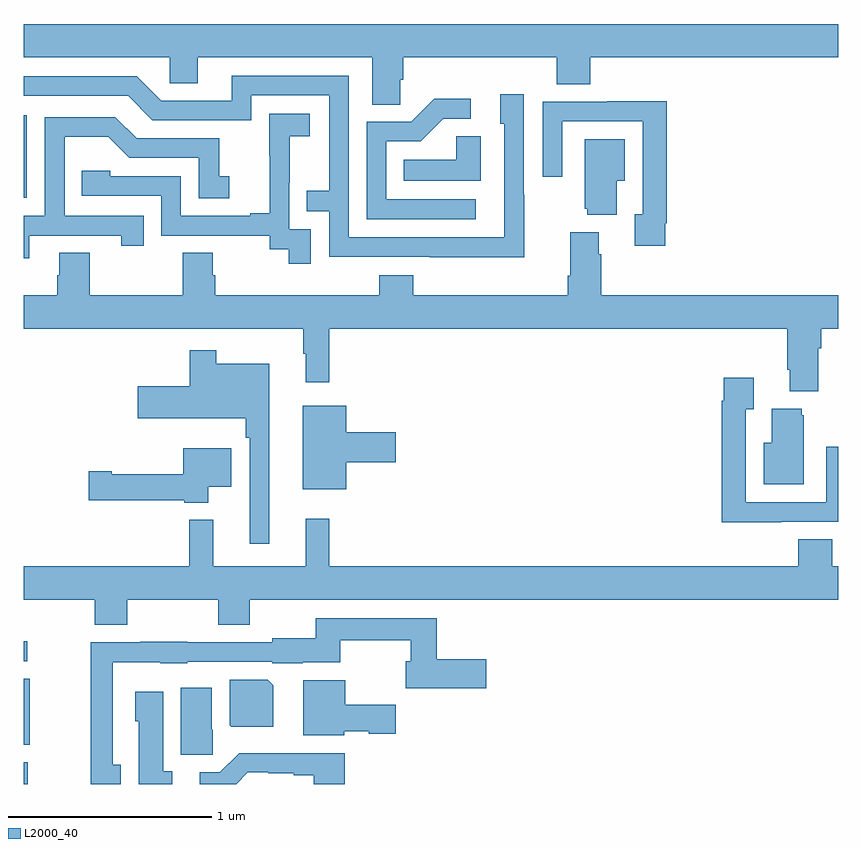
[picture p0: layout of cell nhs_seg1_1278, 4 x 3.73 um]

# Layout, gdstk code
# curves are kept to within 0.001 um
import gdstk
lib = gdstk.Library(unit=1e-6, precision=1e-09)
def R(c, l, rs):  # rectangles x0, y0, x1, y1
    for r in rs: c.add(gdstk.rectangle(r[:2], r[2:], *l))
def P(c, l, *ps):  # polygons
    for p in ps: c.add(gdstk.Polygon(p, *l))
L2000_40 = (2000, 40)

nhs_seg1_1278 = lib.new_cell('nhs_seg1_1278')
R(nhs_seg1_1278, L2000_40, [(181,512.199,181.02,512.307), (181,512.392,181.03,512.717), (181,512.802,181.018,512.9), (181,515.079,181.014,515.485)])
P(nhs_seg1_1278, L2000_40, [(182.85,515.659),(182.864,515.659),(182.864,515.768),(183.617,515.768),(183.617,515.635),(183.782,515.635),(183.782,515.768),(185,515.768),(185,515.932),(181,515.932),(181,515.768),(181.716,515.768),(181.716,515.641),(181.855,515.641),(181.855,515.768),(182.711,515.768),(182.711,515.536),(182.85,515.536)],
  [(183.459,515.093),(183.456,515.093),(183.456,515.587),(183.341,515.587),(183.341,515.442),(183.36,515.442),(183.36,514.884),(182.595,514.884),(182.595,515.679),(182.021,515.679),(182.021,515.556),(181.674,515.556),(181.554,515.676),(181,515.676),(181,515.58),(181.512,515.58),(181.632,515.46),(182.118,515.46),(182.118,515.583),(182.499,515.583),(182.499,515.114),(182.389,515.114),(182.389,515.013),(182.499,515.013),(182.499,514.788),(183.459,514.787)],
  [(183.22,515.07),(182.781,515.07),(182.781,515.355),(182.95,515.355),(183.061,515.466),(183.196,515.466),(183.196,515.564),(183.017,515.564),(182.904,515.451),(182.685,515.451),(182.685,514.974),(183.22,514.974)],
  [(184.15,514.954),(184.157,514.954),(184.157,515.552),(183.865,515.552),(183.865,515.55),(183.549,515.55),(183.549,515.181),(183.645,515.181),(183.645,515.454),(184.041,515.454),(184.041,514.998),(184.001,514.998),(184.001,514.842),(184.15,514.842)],
  [(182.409,514.923),(182.304,514.923),(182.304,515.153),(182.306,515.153),(182.306,515.381),(182.404,515.381),(182.404,515.491),(182.206,515.491),(182.206,515.285),(182.207,515.285),(182.207,515.002),(182.111,515.002),(182.111,514.989),(181.77,514.989),(181.77,515.184),(181.425,515.184),(181.425,515.211),(181.285,515.211),(181.285,515.088),(181.674,515.088),(181.674,514.893),(182.208,514.893),(182.208,514.825),(182.301,514.825),(182.301,514.755),(182.409,514.755)],
  [(181.027,514.893),(181.478,514.893),(181.478,514.842),(181.589,514.842),(181.589,514.989),(181.2,514.989),(181.2,515.378),(181.414,515.378),(181.518,515.274),(181.86,515.274),(181.86,515.076),(182.008,515.076),(182.008,515.185),(181.959,515.185),(181.959,515.37),(181.555,515.37),(181.45,515.475),(181.104,515.475),(181.104,514.989),(181,514.989),(181,514.782),(181.027,514.782)],
  [(183.244,515.381),(183.123,515.381),(183.123,515.266),(182.866,515.266),(182.866,515.162),(183.244,515.162)],
  [(183.913,515.162),(183.952,515.162),(183.952,515.365),(183.755,515.365),(183.755,515.025),(183.767,515.025),(183.767,514.994),(183.913,514.994)],
  [(184.903,514.34),(184.916,514.34),(184.916,514.436),(185,514.436),(185,514.6),(183.836,514.6),(183.836,514.802),(183.823,514.802),(183.823,514.909),(183.683,514.909),(183.683,514.696),(183.671,514.696),(183.671,514.6),(182.912,514.6),(182.912,514.699),(182.747,514.699),(182.747,514.6),(181.94,514.6),(181.94,514.698),(181.927,514.698),(181.927,514.808),(181.78,514.808),(181.78,514.6),(181.323,514.6),(181.323,514.808),(181.175,514.808),(181.175,514.698),(181.163,514.698),(181.163,514.6),(181,514.6),(181,514.436),(182.373,514.436),(182.373,514.313),(182.384,514.313),(182.384,514.173),(182.501,514.173),(182.501,514.436),(184.751,514.436),(184.751,514.234),(184.763,514.234),(184.763,514.127),(184.903,514.127)],
  [(182.206,514.264),(181.945,514.264),(181.945,514.33),(181.816,514.33),(181.816,514.153),(181.56,514.153),(181.56,513.995),(182.089,513.995),(182.089,513.899),(182.109,513.899),(182.109,513.378),(182.206,513.378)],
  [(184.721,513.486),(185,513.486),(185,513.856),(184.941,513.856),(184.941,513.582),(184.545,513.582),(184.545,514.039),(184.585,514.039),(184.585,514.195),(184.437,514.195),(184.437,514.082),(184.429,514.082),(184.429,513.485),(184.721,513.485)],
  [(182.584,513.779),(182.827,513.779),(182.827,513.926),(182.584,513.926),(182.584,514.057),(182.369,514.057),(182.369,513.647),(182.584,513.647)],
  [(184.831,514.011),(184.82,514.011),(184.82,514.042),(184.673,514.042),(184.673,513.874),(184.634,513.874),(184.634,513.671),(184.831,513.671)],
  [(181.906,513.659),(182.02,513.659),(182.02,513.847),(181.784,513.847),(181.784,513.721),(181.432,513.721),(181.432,513.734),(181.32,513.734),(181.32,513.592),(181.788,513.592),(181.788,513.581),(181.906,513.581)],
  [(181.509,513.104),(181.954,513.104),(181.954,512.98),(182.109,512.98),(182.109,513.104),(185,513.104),(185,513.268),(184.97,513.268),(184.97,513.401),(184.805,513.401),(184.805,513.268),(182.501,513.268),(182.501,513.502),(182.384,513.502),(182.384,513.268),(181.931,513.268),(181.931,513.496),(181.813,513.496),(181.813,513.268),(181,513.268),(181,513.104),(181.349,513.104),(181.349,512.98),(181.509,512.98)],
  [(181.477,512.294),(181.437,512.294),(181.437,512.798),(181.671,512.798),(181.671,512.792),(181.803,512.792),(181.803,512.799),(182.22,512.799),(182.22,512.792),(182.37,512.792),(182.37,512.798),(182.554,512.798),(182.554,512.904),(182.901,512.904),(182.901,512.803),(182.875,512.803),(182.875,512.669),(183.271,512.669),(183.271,512.811),(183.029,512.811),(183.029,513.012),(182.433,513.012),(182.433,512.914),(182.22,512.914),(182.22,512.895),(181.803,512.895),(181.803,512.897),(181.571,512.897),(181.571,512.895),(181.329,512.895),(181.329,512.199),(181.477,512.199)],
  [(182.224,512.684),(182.198,512.71),(182.012,512.71),(182.012,512.488),(182.02,512.48),(182.224,512.48)],
  [(182.574,512.459),(182.694,512.459),(182.694,512.447),(182.827,512.447),(182.827,512.589),(182.578,512.589),(182.578,512.708),(182.372,512.708),(182.372,512.438),(182.574,512.438)],
  [(181.928,512.466),(181.924,512.466),(181.924,512.671),(181.772,512.671),(181.772,512.343),(181.928,512.343)],
  [(181.729,512.262),(181.684,512.262),(181.684,512.653),(181.547,512.653),(181.547,512.508),(181.565,512.508),(181.565,512.199),(181.729,512.199)],
  [(182.1,512.256),(182.2,512.256),(182.2,512.253),(182.327,512.253),(182.327,512.241),(182.423,512.241),(182.423,512.199),(182.576,512.199),(182.576,512.351),(182.057,512.351),(181.962,512.256),(181.863,512.256),(181.863,512.199),(182.043,512.199)])

lib.write_gds('nhs_seg1_1278.gds')
